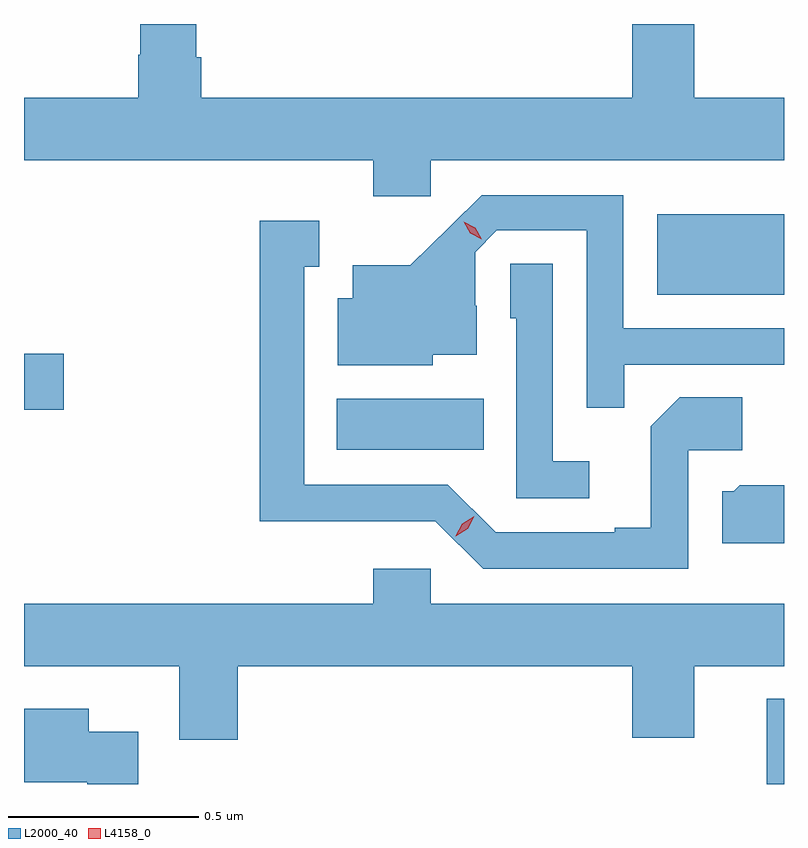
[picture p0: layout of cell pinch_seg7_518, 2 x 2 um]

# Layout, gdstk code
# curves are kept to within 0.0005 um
import gdstk
lib = gdstk.Library(unit=1e-6, precision=1e-09)
def R(c, l, rs):  # rectangles x0, y0, x1, y1
    for r in rs: c.add(gdstk.rectangle(r[:2], r[2:], *l))
def P(c, l, *ps):  # polygons
    for p in ps: c.add(gdstk.Polygon(p, *l))
L2000_40 = (2000, 40)
L4158_0 = (4158, 0)

pinch_seg7_518 = lib.new_cell('pinch_seg7_518')
R(pinch_seg7_518, L2000_40, [(117.41,1061.578,117.456,1061.803), (116.279,1062.458,116.666,1062.592), (115.456,1062.563,115.561,1062.71), (117.122,1062.866,117.456,1063.078)])
P(pinch_seg7_518, L2000_40, [(116.526,1063.22),(117.456,1063.22),(117.456,1063.384),(117.22,1063.384),(117.22,1063.578),(117.056,1063.578),(117.056,1063.384),(115.922,1063.384),(115.922,1063.49),(115.909,1063.49),(115.909,1063.578),(115.762,1063.578),(115.762,1063.497),(115.757,1063.497),(115.757,1063.384),(115.456,1063.384),(115.456,1063.22),(116.375,1063.22),(116.375,1063.125),(116.526,1063.125)],
  [(117.035,1062.681),(117.456,1062.681),(117.456,1062.777),(117.033,1062.777),(117.033,1063.128),(116.66,1063.128),(116.473,1062.943),(116.321,1062.943),(116.321,1062.856),(116.282,1062.856),(116.282,1062.68),(116.532,1062.68),(116.532,1062.707),(116.647,1062.707),(116.647,1062.836),(116.643,1062.836),(116.643,1062.978),(116.7,1063.035),(116.937,1063.035),(116.937,1062.568),(117.035,1062.568)],
  [(117.204,1062.456),(117.346,1062.456),(117.346,1062.596),(117.181,1062.596),(117.105,1062.52),(117.105,1062.253),(117.011,1062.253),(117.011,1062.24),(116.697,1062.24),(116.571,1062.366),(116.194,1062.366),(116.194,1062.939),(116.233,1062.939),(116.233,1063.06),(116.076,1063.06),(116.076,1062.269),(116.316,1062.269),(116.316,1062.27),(116.538,1062.27),(116.664,1062.144),(117.204,1062.144)],
  [(116.944,1062.427),(116.847,1062.427),(116.847,1062.947),(116.736,1062.947),(116.736,1062.804),(116.751,1062.804),(116.751,1062.33),(116.944,1062.33)],
  [(117.456,1062.364),(117.34,1062.364),(117.324,1062.348),(117.293,1062.348),(117.293,1062.212),(117.456,1062.212)],
  [(116.018,1061.888),(117.056,1061.888),(117.056,1061.7),(117.22,1061.7),(117.22,1061.888),(117.456,1061.888),(117.456,1062.052),(116.526,1062.052),(116.526,1062.145),(116.375,1062.145),(116.375,1062.052),(115.456,1062.052),(115.456,1061.888),(115.865,1061.888),(115.865,1061.694),(116.018,1061.694)],
  [(115.756,1061.716),(115.627,1061.716),(115.627,1061.776),(115.456,1061.776),(115.456,1061.582),(115.622,1061.582),(115.622,1061.578),(115.756,1061.578)])
P(pinch_seg7_518, L4158_0, [(116.592,1062.23),(116.592,1062.231),(116.609,1062.263),(116.641,1062.282),(116.641,1062.282),(116.641,1062.282),(116.624,1062.25),(116.592,1062.23)],
  [(116.661,1063.012),(116.63,1063.028),(116.613,1063.057),(116.613,1063.058),(116.613,1063.058),(116.644,1063.042),(116.661,1063.012),(116.661,1063.012)])

lib.write_gds('pinch_seg7_518.gds')
